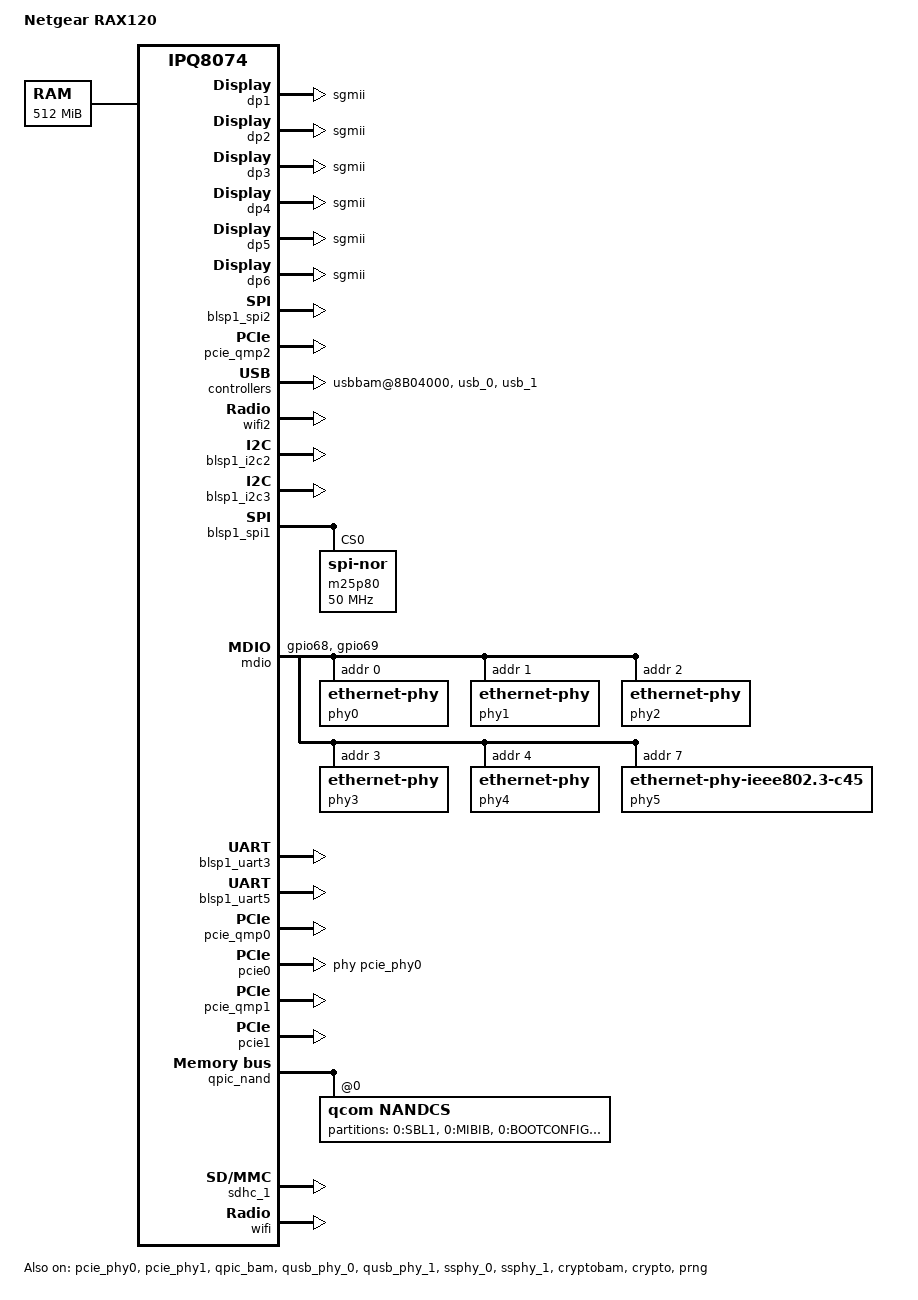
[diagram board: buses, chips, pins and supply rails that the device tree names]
// SPDX-License-Identifier: GPL-2.0-only
/dts-v1/;
/* Copyright (c) 2017, The Linux Foundation. All rights reserved.
 */
#include "ipq8074.dtsi"
#include "ipq8074-ess.dtsi"
#include "ipq8074-hk-cpu.dtsi"
#include "ipq8074-cpr-regulator.dtsi"

/ {
	#address-cells = <0x2>;
	#size-cells = <0x2>;
	model = "Netgear RAX120";
	compatible = "netgear,rax120", "qcom,ipq8074";
	interrupt-parent = <&intc>;

	aliases {
		serial0 = &blsp1_uart5;
		serial1 = &blsp1_uart3;
		label-mac-device = &dp1;
		ethernet0 = &dp1;
		ethernet1 = &dp2;
		ethernet2 = &dp3;
		ethernet3 = &dp4;
		ethernet4 = &dp5;
		ethernet5 = &dp6;
	};

	chosen {
		stdout-path = "serial0";
	};

	memory@40000000 {
		device_type = "memory";
		reg = <0x0 0x40000000 0x0 0x20000000>;
	};
};

&tlmm {
	pinctrl-0 = <&btcoex_pins>;
	pinctrl-names = "default";

	btcoex_pins: btcoex_pins {
		mux_0 {
			pins = "gpio64";
			function = "pta1_1";
			drive-strength = <6>;
			bias-pull-down;
		};
		mux_1 {
			pins = "gpio65";
			function = "pta1_2";
			drive-strength = <6>;
			bias-pull-down;
		};
		mux_2 {
			pins = "gpio66";
			function = "pta1_0";
			drive-strength = <6>;
			bias-pull-down;
		};
		mux_3 {
			pins = "gpio54";
			function = "pta2_0";
			drive-strength = <6>;
			bias-pull-down;
		};
		mux_4 {
			pins = "gpio55";
			function = "pta2_1";
			drive-strength = <6>;
			bias-pull-down;
		};
		mux_5 {
			pins = "gpio56";
			function = "pta2_2";
			drive-strength = <6>;
			bias-pull-down;
		};
	};

	mdio_pins: mdio-pins {
		mdc {
			pins = "gpio68";
			function = "mdc";
			drive-strength = <8>;
			bias-pull-up;
		};

		mdio {
			pins = "gpio69";
			function = "mdio";
			drive-strength = <8>;
			bias-pull-up;
		};
	};

	qpic_pins {
		data_0 {
			pins = "gpio15";
			function = "qpic_pad0";
			drive-strength = <8>;
			bias-disable;
		};
		data_1 {
			pins = "gpio12";
			function = "qpic_pad1";
			drive-strength = <8>;
			bias-disable;
		};
		data_2 {
			pins = "gpio13";
			function = "qpic_pad2";
			drive-strength = <8>;
			bias-disable;
		};
		data_3 {
			pins = "gpio14";
			function = "qpic_pad3";
			drive-strength = <8>;
			bias-disable;
		};
		data_4 {
			pins = "gpio5";
			function = "qpic_pad4";
			drive-strength = <8>;
			bias-disable;
		};
		data_5 {
			pins = "gpio6";
			function = "qpic_pad5";
			drive-strength = <8>;
			bias-disable;
		};
		data_6 {
			pins = "gpio7";
			function = "qpic_pad6";
			drive-strength = <8>;
			bias-disable;
		};
		data_7 {
			pins = "gpio8";
			function = "qpic_pad7";
			drive-strength = <8>;
			bias-disable;
		};
		data_8 {
			pins = "gpio16";
			function = "qpic_pad8";
			drive-strength = <8>;
			bias-disable;
		};
		qpic_pad {
			pins = "gpio0", "gpio1", "gpio2", "gpio3", "gpio4",
			       "gpio9", "gpio10", "gpio11", "gpio17";
			function = "qpic_pad";
			drive-strength = <8>;
			bias-disable;
		};
	};

	ledc_pins: ledc_pinmux {
		led_clk {
			pins = "gpio18";
			function = "gpio";
			drive-strength = <8>;
			bias-pull-down;
		};
		led_data {
			pins = "gpio19";
			function = "gpio";
			drive-strength = <8>;
			bias-pull-down;
		};
		led_clr {
			pins = "gpio20";
			function = "gpio";
			drive-strength = <8>;
			bias-pull-up;
		};
		gpio_usb1_enable{
			pins = "gpio30";
			function = "gpio";
			drive-strength = <8>;
			bias-pull-down;
		};
		gpio_usb2_enable{
			pins = "gpio31";
			function = "gpio";
			drive-strength = <8>;
			bias-pull-down;
		};
	};
	
	button_pins: button_pins {
		wps_button {
			pins = "gpio57";
			function = "gpio";
			drive-strength = <8>;
			bias-pull-up;
		};
	};

	uniphy_pins: uniphy_pinmux {
		mux {
			pins = "gpio60";
			function = "rx2";
			bias-disable;
		};
		sfp_tx {
			pins = "gpio59";
			function = "gpio";
			drive-strength = <8>;
			bias-pull-down;
			output-low;
		};
	};
	
	pwm_pins: pwm_pinmux {
		mux_1 {
			pins = "gpio25";
			function = "pwm02";
			drive-strength = <8>;
		};
	};
};

&soc {

	dp1: dp1 {
		device_type = "network";
		compatible = "qcom,nss-dp";
		qcom,id = <1>;
		reg = <0x3a001000 0x200>;
		qcom,mactype = <0>;
		local-mac-address = [000000000000];
		qcom,link-poll = <1>;
		qcom,phy-mdio-addr = <0>;
		phy-mode = "sgmii";
		mdio-bus = <&mdio>;
	};

	dp2: dp2 {
		device_type = "network";
		compatible = "qcom,nss-dp";
		qcom,id = <2>;
		reg = <0x3a001200 0x200>;
		qcom,mactype = <0>;
		local-mac-address = [000000000000];
		qcom,link-poll = <1>;
		qcom,phy-mdio-addr = <1>;
		phy-mode = "sgmii";
		mdio-bus = <&mdio>;
	};

	dp3: dp3 {
		device_type = "network";
		compatible = "qcom,nss-dp";
		qcom,id = <3>;
		reg = <0x3a001400 0x200>;
		qcom,mactype = <0>;
		local-mac-address = [000000000000];
		qcom,link-poll = <1>;
		qcom,phy-mdio-addr = <2>;
		phy-mode = "sgmii";
		mdio-bus = <&mdio>;
	};

	dp4: dp4 {
		device_type = "network";
		compatible = "qcom,nss-dp";
		qcom,id = <4>;
		reg = <0x3a001600 0x200>;
		qcom,mactype = <0>;
		local-mac-address = [000000000000];
		qcom,link-poll = <1>;
		qcom,phy-mdio-addr = <3>;
		phy-mode = "sgmii";
		mdio-bus = <&mdio>;
	};

	dp5: dp5 {
		device_type = "network";
		compatible = "qcom,nss-dp";
		qcom,id = <5>;
		reg = <0x3a001800 0x200>;
		qcom,mactype = <0>;
		local-mac-address = [000000000000];
		qcom,link-poll = <1>;
		qcom,phy-mdio-addr = <4>;
		phy-mode = "sgmii";
		mdio-bus = <&mdio>;
	};

	dp6: dp6 {
		device_type = "network";
		compatible = "qcom,nss-dp";
		qcom,id = <6>;
		reg = <0x3a007000 0x3fff>;
		qcom,mactype = <1>;
		local-mac-address = [000000000000];
		qcom,link-poll = <1>;
		qcom,phy-mdio-addr = <7>;
		phy-mode = "sgmii";
		mdio-bus = <&mdio>;
	};

	ess-switch@3a000000 {
		status = "okay";
		pinctrl-0 = <&uniphy_pins>;
		pinctrl-names = "default";
		switch_lan_bmp = <0x3e>; /* lan port bitmap */
		switch_wan_bmp = <0x40>; /* wan port bitmap */
		switch_mac_mode = <0x0>; /* mac mode for uniphy instance0*/
		switch_mac_mode1 = <0xff>; /* mac mode for uniphy instance1*/
		switch_mac_mode2 = <0xd>; /* mac mode for uniphy instance2*/
		bm_tick_mode = <0>; /* bm tick mode */
		tm_tick_mode = <0>; /* tm tick mode */	
		mdio-bus = <&mdio>;
			qcom,port_phyinfo {
				port@1 {
					port_id = <1>;
					phy_address = <0>;
				};
				port@2 {
					port_id = <2>;
					phy_address = <1>;
				};
				port@3 {
					port_id = <3>;
					phy_address = <2>;
				};
				port@4 {
					port_id = <4>;
					phy_address = <3>;
				};
				port@5 {
					port_id = <5>;
					phy_address = <4>;
				};
				port@6 {
					port_id = <6>;
					phy_address = <5>;
				};
			};

		port_scheduler_resource {
			port@0 {
				port_id = <0>;
				ucast_queue = <0 143>;
				mcast_queue = <256 271>;
				l0sp = <0 35>;
				l0cdrr = <0 47>;
				l0edrr = <0 47>;
				l1cdrr = <0 7>;
				l1edrr = <0 7>;
			};
			port@1 {
				port_id = <1>;
				ucast_queue = <144 159>;
				mcast_queue = <272 275>;
				l0sp = <36 39>;
				l0cdrr = <48 63>;
				l0edrr = <48 63>;
				l1cdrr = <8 11>;
				l1edrr = <8 11>;
			};
			port@2 {
				port_id = <2>;
				ucast_queue = <160 175>;
				mcast_queue = <276 279>;
				l0sp = <40 43>;
				l0cdrr = <64 79>;
				l0edrr = <64 79>;
				l1cdrr = <12 15>;
				l1edrr = <12 15>;
			};
			port@3 {
				port_id = <3>;
				ucast_queue = <176 191>;
				mcast_queue = <280 283>;
				l0sp = <44 47>;
				l0cdrr = <80 95>;
				l0edrr = <80 95>;
				l1cdrr = <16 19>;
				l1edrr = <16 19>;
			};
			port@4 {
				port_id = <4>;
				ucast_queue = <192 207>;
				mcast_queue = <284 287>;
				l0sp = <48 51>;
				l0cdrr = <96 111>;
				l0edrr = <96 111>;
				l1cdrr = <20 23>;
				l1edrr = <20 23>;
			};
			port@5 {
				port_id = <5>;
				ucast_queue = <208 223>;
				mcast_queue = <288 291>;
				l0sp = <52 55>;
				l0cdrr = <112 127>;
				l0edrr = <112 127>;
				l1cdrr = <24 27>;
				l1edrr = <24 27>;
			};
			port@6 {
				port_id = <6>;
				ucast_queue = <224 239>;
				mcast_queue = <292 295>;
				l0sp = <56 59>;
				l0cdrr = <128 143>;
				l0edrr = <128 143>;
				l1cdrr = <28 31>;
				l1edrr = <28 31>;
			};
			port@7 {
				port_id = <7>;
				ucast_queue = <240 255>;
				mcast_queue = <296 299>;
				l0sp = <60 63>;
				l0cdrr = <144 159>;
				l0edrr = <144 159>;
				l1cdrr = <32 35>;
				l1edrr = <32 35>;
			};
		};
		
		port_scheduler_config {
			port@0 {
				port_id = <0>;
				l1scheduler {
					group@0 {
						sp = <0 1>; /*L0 SPs*/
						/*cpri cdrr epri edrr*/
						cfg = <0 0 0 0>;
					};
				};
				l0scheduler {
					group@0 {
						/*unicast queues*/
						ucast_queue = <0 4 8>;
						/*multicast queues*/
						mcast_queue = <256 260>;
						/*sp cpri cdrr epri edrr*/
						cfg = <0 0 0 0 0>;
					};
					group@1 {
						ucast_queue = <1 5 9>;
						mcast_queue = <257 261>;
						cfg = <0 1 1 1 1>;
					};
					group@2 {
						ucast_queue = <2 6 10>;
						mcast_queue = <258 262>;
						cfg = <0 2 2 2 2>;
					};
					group@3 {
						ucast_queue = <3 7 11>;
						mcast_queue = <259 263>;
						cfg = <0 3 3 3 3>;
					};
				};
			};
			port@1 {
				port_id = <1>;
				l1scheduler {
					group@0 {
						sp = <36>;
						cfg = <0 8 0 8>;
					};
					group@1 {
						sp = <37>;
						cfg = <1 9 1 9>;
					};
				};
				l0scheduler {
					group@0 {
						ucast_queue = <144>;
						ucast_loop_pri = <16>;
						mcast_queue = <272>;
						mcast_loop_pri = <4>;
						cfg = <36 0 48 0 48>;
					};
				};
			};
			port@2 {
				port_id = <2>;
				l1scheduler {
					group@0 {
						sp = <40>;
						cfg = <0 12 0 12>;
					};
					group@1 {
						sp = <41>;
						cfg = <1 13 1 13>;
					};
				};
				l0scheduler {
					group@0 {
						ucast_queue = <160>;
						ucast_loop_pri = <16>;
						mcast_queue = <276>;
						mcast_loop_pri = <4>;
						cfg = <40 0 64 0 64>;
					};
				};
			};
			port@3 {
				port_id = <3>;
				l1scheduler {
					group@0 {
						sp = <44>;
						cfg = <0 16 0 16>;
					};
					group@1 {
						sp = <45>;
						cfg = <1 17 1 17>;
					};
				};
				l0scheduler {
					group@0 {
						ucast_queue = <176>;
						ucast_loop_pri = <16>;
						mcast_queue = <280>;
						mcast_loop_pri = <4>;
						cfg = <44 0 80 0 80>;
					};
				};
			};
			port@4 {
				port_id = <4>;
				l1scheduler {
					group@0 {
						sp = <48>;
						cfg = <0 20 0 20>;
					};
					group@1 {
						sp = <49>;
						cfg = <1 21 1 21>;
					};
				};
				l0scheduler {
					group@0 {
						ucast_queue = <192>;
						ucast_loop_pri = <16>;
						mcast_queue = <284>;
						mcast_loop_pri = <4>;
						cfg = <48 0 96 0 96>;
					};
				};
			};
			port@5 {
				port_id = <5>;
				l1scheduler {
					group@0 {
						sp = <52>;
						cfg = <0 24 0 24>;
					};
					group@1 {
						sp = <53>;
						cfg = <1 25 1 25>;
					};
				};
				l0scheduler {
					group@0 {
						ucast_queue = <208>;
						ucast_loop_pri = <16>;
						mcast_queue = <288>;
						mcast_loop_pri = <4>;
						cfg = <52 0 112 0 112>;
					};
				};
			};
			port@6 {
				port_id = <6>;
				l1scheduler {
					group@0 {
						sp = <56>;
						cfg = <0 28 0 28>;
					};
					group@1 {
						sp = <57>;
						cfg = <1 29 1 29>;
					};
				};
				l0scheduler {
					group@0 {
						ucast_queue = <224>;
						ucast_loop_pri = <16>;
						mcast_queue = <292>;
						mcast_loop_pri = <4>;
						cfg = <56 0 128 0 128>;
					};
				};
			};
			port@7 {				
				port_id = <7>;					
				l1scheduler {
					group@0 {
						sp = <60>;
						cfg = <0 32 0 32>;
					};
					group@1 {
						sp = <61>;
						cfg = <1 33 1 33>;
					};
				};
				l0scheduler {
					group@0 {
						ucast_queue = <240>;
						ucast_loop_pri = <16>;
						mcast_queue = <296>;
						cfg = <60 0 144 0 144>;
					};
				};
			};
		};
	};

	nss-common {
		compatible = "qcom,nss-common";
		reg = <0x01868010 0x1000>;
		reg-names = "nss-misc-reset";
	};

	nss0: nss@40000000 {
		compatible = "qcom,nss";
		interrupts = <GIC_SPI 377 IRQ_TYPE_LEVEL_HIGH>,
			<GIC_SPI  378 IRQ_TYPE_LEVEL_HIGH>,
			<GIC_SPI  379 IRQ_TYPE_LEVEL_HIGH>,
			<GIC_SPI  380 IRQ_TYPE_LEVEL_HIGH>,
			<GIC_SPI  381 IRQ_TYPE_LEVEL_HIGH>,
			<GIC_SPI  382 IRQ_TYPE_LEVEL_HIGH>,
			<GIC_SPI  383 IRQ_TYPE_LEVEL_HIGH>,
			<GIC_SPI  384 IRQ_TYPE_LEVEL_HIGH>,
			<GIC_SPI  385 IRQ_TYPE_LEVEL_HIGH>;
		reg = <0x39000000 0x1000>,
			<0x38000000 0x30000>,
			<0x0b111000 0x1000>;
		reg-names = "nphys", "vphys", "qgic-phys";
	    clocks = <&gcc GCC_NSS_NOC_CLK>,
			<&gcc GCC_NSS_PTP_REF_CLK>,
			<&gcc GCC_NSS_CSR_CLK>,
			<&gcc GCC_NSS_CFG_CLK>,
			<&gcc GCC_NSS_IMEM_CLK>,
			<&gcc GCC_NSSNOC_QOSGEN_REF_CLK>,
			<&gcc GCC_MEM_NOC_NSS_AXI_CLK>,
			<&gcc GCC_NSSNOC_SNOC_CLK>,
			<&gcc GCC_NSSNOC_TIMEOUT_REF_CLK>,
			<&gcc GCC_NSS_CE_AXI_CLK>,
			<&gcc GCC_NSS_CE_APB_CLK>,
			<&gcc GCC_NSSNOC_CE_AXI_CLK>,
			<&gcc GCC_NSSNOC_CE_APB_CLK>,
			<&gcc GCC_NSSNOC_UBI0_AHB_CLK>,
			<&gcc GCC_UBI0_CORE_CLK>,
			<&gcc GCC_UBI0_AHB_CLK>,
			<&gcc GCC_UBI0_AXI_CLK>,
			<&gcc GCC_UBI0_MPT_CLK>,
			<&gcc GCC_UBI0_NC_AXI_CLK>;
	    clock-names = "nss-noc-clk", "nss-ptp-ref-clk",
			"nss-csr-clk", "nss-cfg-clk",
			"nss-imem-clk",
			"nss-nssnoc-qosgen-ref-clk",
			"nss-mem-noc-nss-axi-clk",
			"nss-nssnoc-snoc-clk",
			"nss-nssnoc-timeout-ref-clk",
			"nss-ce-axi-clk", "nss-ce-apb-clk",
			"nss-nssnoc-ce-axi-clk",
			"nss-nssnoc-ce-apb-clk",
			"nss-nssnoc-ahb-clk",
			"nss-core-clk", "nss-ahb-clk",
			"nss-axi-clk", "nss-mpt-clk",
			"nss-nc-axi-clk";
		    qcom,id = <0>;
		    qcom,num-queue = <4>;
		    qcom,num-irq = <9>;
		    qcom,num-pri = <4>;
		    qcom,load-addr = <0x40000000>;
		    qcom,low-frequency = <748800000>;
		    qcom,mid-frequency = <1497600000>;
		    qcom,max-frequency = <1689600000>;
		    qcom,bridge-enabled;
		    qcom,ipv4-enabled;
		    qcom,ipv4-reasm-enabled;
		    qcom,ipv6-enabled;
		    qcom,ipv6-reasm-enabled;
		    qcom,wlanredirect-enabled;
		    qcom,tun6rd-enabled;
		    qcom,l2tpv2-enabled;
		    qcom,gre-enabled;
		    qcom,gre-redir-enabled;
		    qcom,map-t-enabled;
		    qcom,portid-enabled;
		    qcom,ppe-enabled;
		    qcom,pppoe-enabled;
		    qcom,pptp-enabled;
		    qcom,tunipip6-enabled;
		    qcom,shaping-enabled;
		    qcom,wlan-dataplane-offload-enabled;
		    qcom,vlan-enabled;
		    npu-supply = <&npu_vreg>;
	};

	blsp1_spi2: spi@78b8000 {
		compatible = "qcom,spi-qup-v2.2.1";
		#address-cells = <1>;
		#size-cells = <0>;
		reg = <0x78b8000 0x600>;
		interrupts = <GIC_SPI 98 IRQ_TYPE_LEVEL_HIGH>;
		spi-max-frequency = <50000000>;
		clocks = <&gcc GCC_BLSP1_QUP2_SPI_APPS_CLK>,
			<&gcc GCC_BLSP1_AHB_CLK>;
		clock-names = "core", "iface";
		dmas = <&blsp_dma 18>, <&blsp_dma 19>;
		dma-names = "tx", "rx";
		status = "okay";
	};

	pcie_qmp2: phy@86000 {
		compatible = "qcom,ipq8074-qmp-pcie-gen3-phy";
		reg = <0x00086000 0x1000>;
		#address-cells = <1>;
		#size-cells = <1>;
		ranges;

		clocks = <&gcc GCC_PCIE0_AUX_CLK>,
			<&gcc GCC_PCIE0_AHB_CLK>;
		clock-names = "aux", "cfg_ahb";
		resets = <&gcc GCC_PCIE0_PHY_BCR>,
			<&gcc GCC_PCIE0PHY_PHY_BCR>;
		reset-names = "phy",
			"common";
		status = "okay";
		pcie_phy2: phy@86200 {
			reg = <0x86200 0x16c>,
				<0x86400 0x200>,
				<0x86800 0x4f4>;
			#phy-cells = <0>;
			#clock-cells = <0>;
			clocks = <&gcc GCC_PCIE0_PIPE_CLK>;
			clock-names = "pipe0";
			clock-output-names = "pcie_0_pipe_clk";
			clock-output-rate = <250000000>;
		};
	};

	usbbam@8B04000 {
		compatible = "qcom,usb-bam-msm";
		reg = <0x8B04000 0x17000>;
		interrupt-parent = <&intc>;
		interrupts = <GIC_SPI 135 IRQ_TYPE_LEVEL_HIGH>;

		qcom,bam-type = <0>;
		qcom,usb-bam-fifo-baseaddr = <0x4A600000>;
		qcom,usb-bam-num-pipes = <4>;
		qcom,ignore-core-reset-ack;
		qcom,disable-clk-gating;
		qcom,usb-bam-override-threshold = <0x4001>;
		qcom,usb-bam-max-mbps-highspeed = <400>;
		qcom,usb-bam-max-mbps-superspeed = <3600>;
		qcom,reset-bam-on-connect;

		qcom,pipe0 {
			label = "ssusb-qdss-in-0";
			qcom,usb-bam-mem-type = <2>;
			qcom,dir = <1>;
			qcom,pipe-num = <0>;
			qcom,peer-bam = <0>;
			qcom,peer-bam-physical-address = <0x6044000>;
			qcom,src-bam-pipe-index = <0>;
			qcom,dst-bam-pipe-index = <0>;
			qcom,data-fifo-offset = <0x0>;
			qcom,data-fifo-size = <0xe00>;
			qcom,descriptor-fifo-offset = <0xe00>;
			qcom,descriptor-fifo-size = <0x200>;
		};
	};	

	dbm_1p5: dbm@8AF8000 {
		compatible = "qcom,usb-dbm-1p5";
		reg = <0x8AF8000 0x300>;
		qcom,reset-ep-after-lpm-resume;
	};

	ledc: ledc@191E000  {
		pinctrl-0 = <&ledc_pins>;
		pinctrl-names = "default";
		compatible = "qca,ledc";
		reg = <0x191E000 0x20070>;
		reg-names = "ledc_base_addr";
		qcom,tcsr_ledc_values = <0x0320193 0x00000000 \
					0x00000000 0x00000000 \
					0x00000000 0xFFFFFFFF \
					0x00000000 0xFFFFFFFF \
					0x007D0820 0x00000000 \
					0x10482094 0x03FFFFE1>;
		qcom,ledc_blink_indices_cnt = <13>;
		qcom,ledc_blink_indices = <5 6 7 14 13 1 9 10 2 11 12 3 4>;
		qcom,ledc_blink_idx_src_pair = <3 20>, <4 21>, <5 22>;
		led0 {
			label = "ipq::led0";
			linux,default-trigger = "led_wifi_son_green";
		};
		led1 {
			label = "ipq::led1";
			linux,default-trigger = "led_wifi_son_orange";
		};
		led2 {
			label = "ipq::led2";
			linux,default-trigger = "led_wifi_son_blue";
		};
		led3 {
			label = "ipq::led3";
			linux,default-trigger = "led_2g";
		};
		led4 {
			label = "ipq::led4";
			linux,default-trigger = "led_5gl";
		};
		led5 {
			label = "ipq::led5";
			linux,default-trigger = "led_5gh";
		};
		led6 {
			label = "ipq::led6";
			linux,default-trigger = "led_lan";
		};
		led7 {
			label = "ipq::led7";
			linux,default-trigger = "led_wan";
		};
		led8 {
			label = "ipq::led8";
			linux,default-trigger = "led_10g_link";
		};
		led9 {
			label = "ipq::led9";
			linux,default-trigger = "led_sfp";
		};
		led10 {
			label = "ipq::led10";
			linux,default-trigger = "led_bt";
		};
		led11 {
			label = "ipq::led11";
			linux,default-trigger = "none";
		};
		led12 {
			label = "ipq::led12";
			linux,default-trigger = "none";
		status = "okay";
		};
	};

	wifi2: wifi2@f00000 {
		compatible  = "qcom,cnss-qca6290";
		qcom,mhi = <0x02>;
		qcom,wlan-ramdump-dynamic = <0x400000>;
		status = "okay";
	};

	qcom,mhi@1 {
		compatible = "qcom,mhi";
		qcom,pci-dev_id = <0x1100>;
		qcom,pci-domain = <0x00>;
		qcom,pci-bus = <0x01>;
		qcom,pci-slot = <0x00>;
		qcom,mhi-address-window = <0x00 0x40000000 0x01 0xffffffff>;
		qcom,mhi-ready-timeout = <0x927c0>;
		qcom,bhi-poll-timeout = <0x927c0>;
		qcom,bhi-alignment = <0x40000>;
		qcom,mhi-manage-boot;
		qcom,mhi-fw-image = "QCA6290/amss.bin";
		qcom,mhi-max-sbl = <0x40000>;
		qcom,mhi-sg-size = <0x80000>;
		mhi-chan-cfg-0 = <0x00 0x80 0x01 0x92>;
		mhi-chan-cfg-1 = <0x01 0x80 0x01 0xa2>;
		mhi-chan-cfg-4 = <0x04 0x80 0x01 0x92>;
		mhi-chan-cfg-5 = <0x05 0x80 0x01 0xa2>;
		mhi-chan-cfg-16 = <0x10 0x40 0x01 0x92>;
		mhi-chan-cfg-17 = <0x11 0x40 0x01 0xa2>;
		mhi-event-rings = <0x02>;
		mhi-event-cfg-0 = <0x0a 0x00 0x01 0x00 0x01 0x31>;
		mhi-event-cfg-1 = <0x80 0x01 0x01 0x00 0x01 0x31>;
		linux,phandle = <0x02>;
		phandle = <0x02>;
	};
	qcom,ipc_router_external_wlan_xprt {
		compatible = "qcom,ipc_router_mhi_xprt";
		qcom,mhi = <0x02>;
		qcom,out-chan-id = <0x10>;
		qcom,in-chan-id = <0x11>;
		qcom,xprt-remote = "external-wlan";
		qcom,xprt-linkid = <0x01>;
		qcom,xprt-version = <0x03>;
	};
};

&blsp1_i2c2 {
	status = "okay";
};

&blsp1_i2c3 {
	status = "okay";
};

&blsp1_spi1 {
	status = "okay";
	m25p80@0 {
		#address-cells = <1>;
		#size-cells = <1>;
		compatible = "jedec,spi-nor";
		reg = <0>;
		spi-max-frequency = <50000000>;
	};
};

&mdio {
	status = "okay";
	pinctrl-0 = <&mdio_pins>;
	pinctrl-names = "default";
	
	phy0: ethernet-phy@0 {
		reg = <0>;
	};
	phy1: ethernet-phy@1 {
		reg = <1>;
	};
	phy2: ethernet-phy@2 {
		reg = <2>;
	};
	phy3: ethernet-phy@3 {
		reg = <3>;
	};
	phy4: ethernet-phy@4 {
		reg = <4>;
	};
	phy5: ethernet-phy@5 {
		compatible ="ethernet-phy-ieee802.3-c45";
		reg = <7>;
	};
};

&blsp1_uart3 {
	status = "okay";
};

&blsp1_uart5 {
	status = "okay";
};

&pcie_qmp0 { 
	//84000
	status = "okay";
};

&pcie_phy0 {
	//84200
	status = "okay";
};

&pcie0 {
	//phy0 and phy2
	status = "okay";
	phys = <&pcie_phy0>, <&pcie_phy2>;
	phy-names = "pciephy", "pciephy";	
	perst-gpio = <&tlmm 58 1>;
};

&pcie_qmp1 {
	//8e000
	status = "okay";
};

&pcie_phy1 {
	//8e200
	status = "okay";
};

&pcie1 {
	//phy1
	perst-gpio = <&tlmm 61 1>;
	status = "okay";
};

&qpic_bam {
	status = "okay";
};

&qpic_nand {
	status = "okay";
	nandcs@0 {
		compatible = "qcom,nandcs";
		reg = <0>;
		#address-cells = <1>;
		#size-cells = <1>;

		nand-ecc-strength = <4>;
		nand-ecc-step-size = <512>;
		nand-bus-width = <8>;

		partition@0 {
			label = "0:SBL1";
			reg = <0x00 0x100000>;
		};

		partition@100000 {
			label = "0:MIBIB";
			reg = <0x100000 0x100000>;
		};

		partition@200000 {
			label = "0:BOOTCONFIG";
			reg = <0x200000 0x80000>;
		};

		partition@280000 {
			label = "0:BOOTCONFIG1";
			reg = <0x280000 0x80000>;
		};

		partition@300000 {
			label = "0:QSEE";
			reg = <0x300000 0x300000>;
		};

		partition@600000 {
			label = "0:QSEE_1";
			reg = <0x600000 0x300000>;
		};

		partition@900000 {
			label = "0:DEVCFG";
			reg = <0x900000 0x80000>;
		};

		partition@980000 {
			label = "0:DEVCFG_1";
			reg = <0x980000 0x80000>;
		};

		partition@a00000 {
			label = "0:APDP";
			reg = <0xa00000 0x80000>;
		};

		partition@a80000 {
			label = "0:APDP_1";
			reg = <0xa80000 0x80000>;
		};

		partition@b00000 {
			label = "0:RPM";
			reg = <0xb00000 0x80000>;
		};

		partition@b80000 {
			label = "0:RPM_1";
			reg = <0xb80000 0x80000>;
		};

		partition@c00000 {
			label = "0:CDT";
			reg = <0xc00000 0x80000>;
		};

		partition@c80000 {
			label = "0:CDT_1";
			reg = <0xc80000 0x80000>;
		};

		partition@d00000 {
			label = "0:APPSBLENV";
			reg = <0xd00000 0x80000>;
		};

		partition@d80000 {
			label = "0:APPSBL";
			reg = <0xd80000 0x100000>;
		};

		partition@e80000 {
			label = "0:APPSBL_1";
			reg = <0xe80000 0x100000>;
		};

		partition@f80000 {
			label = "0:ART";
			reg = <0xf80000 0x80000>;
		};

		partition@1000000 {
			label = "rootfs";
			reg = <0x1000000 0x2e00000>;
		};

		partition@3e00000 {
			label = "0:WIFIFW";
			reg = <0x3e00000 0x900000>;
		};

		partition@4700000 {
			label = "rootfs_1";
			reg = <0x4700000 0x2e00000>;
		};

		partition@7500000 {
			label = "0:WIFIFW_1";
			reg = <0x7500000 0x900000>;
		};

		partition@7e00000 {
			label = "0:ETHPHYFW";
			reg = <0x7e00000 0x80000>;
		};
	};
};

&sdhc_1 {
	status = "okay";
};

&qusb_phy_0 {
	//79000
	status = "okay";
	reg = <0x079000 0x180>,
		<0x08af8800 0x400>,
		<0x01841030 0x4>,
		<0x08A0C12C 0x4>;
	reg-names = "qusb_phy_base",
	  "qscratch_base",
	  "ref_clk_addr",
	  "usb3_guctl_addr";

	qcom,qusb-phy-init-seq = <0xF8 0x80
	  0x83 0x84
	  0x83 0x88
	  0xC0 0x8C
	  0x30 0x08
	  0x79 0x0C
	  0x21 0x10
	  0x14 0x9C
	  0x80 0x04
	  0x9F 0x1C>;
	phy_type= "utmi";
};

&qusb_phy_1 {
	//59000
	status = "okay";
	reg = <0x059000 0x180>,
	<0x08cf8800 0x400>,
	<0x01841030 0x4>,
	<0x08C0C12C 0x4>;
  	reg-names = "qusb_phy_base",
	  "qscratch_base",
	  "ref_clk_addr",
	  "usb3_guctl_addr";
  	qcom,qusb-phy-init-seq = <0xF8 0x80
	  0x83 0x84
	  0x83 0x88
	  0xC0 0x8C
	  0x30 0x08
	  0x79 0x0C
	  0x21 0x10
	  0x14 0x9C
	  0x80 0x04
	  0x9F 0x1C>;
  phy_type= "utmi";
};

&ssphy_0 {	
	status = "okay";
	reg = <0x78000 0x45c>,
	<0x0193f244 0x4>,
	<0x08af8800 0x100>,
	<0x7e000 0x18>;
	reg-names = "qmp_phy_base",
		"vls_clamp_reg",
		"qscratch_base",
		"ahb2phy_base";
};

&ssphy_1 {
	status = "okay";
	reg = <0x58000 0x45c>,
		<0x08cf8800 0x100>,
		<0x5e000 0x18>;
	reg-names = "qmp_phy_base",
		"qscratch_base",
		"ahb2phy_base";
};

&usb_0 {	
	//USB3_0 in GPL
	//Reg also exists under ssphy_0
	reg = <0x8AF8800 0x100>,
		<0x8A00000 0xcd00>;
	reg-names = "qscratch_base", "dwc3_base";
	assigned-clock-rates = <133330000>,
					       <133330000>,
					       <20000000>;
	qca,host = <1>;
	status = "okay";
	qcom,usb-dbm = <&dbm_1p5>;
};

&dwc_0 {	
	tx-fifo-resize;
	snps,usb3-u1u2-disable;
	snps,nominal-elastic-buffer;
	usb2-susphy-quirk;
	qcom,emulation = <1>;
};

&usb_1 {
	//USB3_1 in GPL
	//Reg also exists under ssphy_1
	reg = <0x8CF8800 0x100>,
		<0x8C00000 0xcd00>;
	reg-names = "qscratch_base", "dwc3_base";
	assigned-clock-rates = <133330000>,
					       <133330000>,
					       <20000000>;
			qca,host = <1>;
	status = "okay";
};

&dwc_1 {	
	tx-fifo-resize;
	snps,usb3-u1u2-disable;
	snps,nominal-elastic-buffer;
	usb2-susphy-quirk;
	qcom,emulation = <1>;
};

&wifi{
	status = "okay";	
};

&cryptobam {
	status = "okay";
};

&crypto {
	status = "okay";
};

&prng {
	status = "okay";
};

&edma {
	status = "okay";
};
